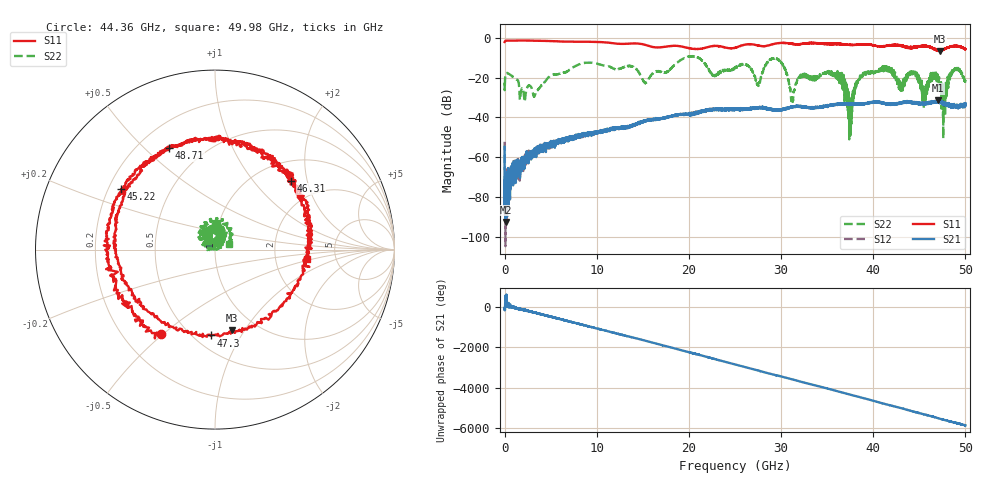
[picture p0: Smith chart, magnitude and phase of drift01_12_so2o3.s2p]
!Created with skrf (http://scikit-rf.org).
# Hz S RI R 50.0
!freq ReS11 ImS11 ReS21 ImS21 ReS12 ImS12 ReS22 ImS22
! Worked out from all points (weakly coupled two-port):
!   10001 points, 300 kHz to 50 GHz, reference 50 ohm
!   highest |S21| = -31.44 dB at 47.06 GHz (marker M1); lowest = -92.5 dB at 115.3 MHz (marker M2)
!   lowest |S11| = -6.8 dB at 47.2 GHz (marker M3), VSWR 2.70, Z = 38.7 - j44.1 ohm
!   |S11| at or under -10 dB: nowhere
!   |S22| runs from -51.0 to -9.2 dB; largest |S21 - S12| = 0.004
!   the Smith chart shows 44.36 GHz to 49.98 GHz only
!   S11 on the Smith chart (normalised r, x): 44.36 GHz: 0.36, -0.49; 45.22 GHz: 0.25, +0.28; 46.31 GHz: 1.40, +1.60; 47.3 GHz: 0.60, -0.75; 48.71 GHz: 0.32, +0.60; 49.98 GHz: 3.05, -0.42
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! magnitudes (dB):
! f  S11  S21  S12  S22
! 300 kHz  -2.1  -54.7  -52.2  -22.6
! 115.3 MHz  -1.5  -92.5  -87.6  -18.1
! 3.285 GHz  -1.5  -58.4  -58.6  -28.8
! 8.335 GHz  -1.9  -49.8  -48.5  -12.9
! 16.67 GHz  -4.9  -40.9  -40.9  -16.7
! 25 GHz  -5.0  -36.2  -35.8  -15.3
! 29.59 GHz  -2.8  -36.2  -36.5  -10.7
! 31.23 GHz  -3.1  -34.6  -34.6  -31.0
! 33.34 GHz  -2.6  -35.0  -35.0  -19.9
! 36.08 GHz  -3.0  -33.4  -33.3  -17.7
! 37.47 GHz  -3.6  -33.5  -33.2  -33.3
! 38.66 GHz  -3.4  -33.1  -33.3  -20.1
! 41.67 GHz  -3.9  -33.2  -33.3  -15.4
! 44.36 GHz  -5.1  -32.7  -32.3  -16.9
! 45.22 GHz  -4.1  -33.1  -33.0  -24.3
! 46.31 GHz  -4.9  -32.3  -32.3  -18.6
! 47.06 GHz  -6.3  -31.4  -32.1  -23.3
! 47.2 GHz  -6.8  -32.5  -32.3  -23.2
! 47.3 GHz  -6.4  -32.5  -32.4  -22.0
! 48.71 GHz  -4.1  -35.0  -34.4  -15.9
! 49.98 GHz  -5.8  -33.1  -33.3  -21.7
! 50 GHz  -5.7  -33.1  -33.8  -21.8
